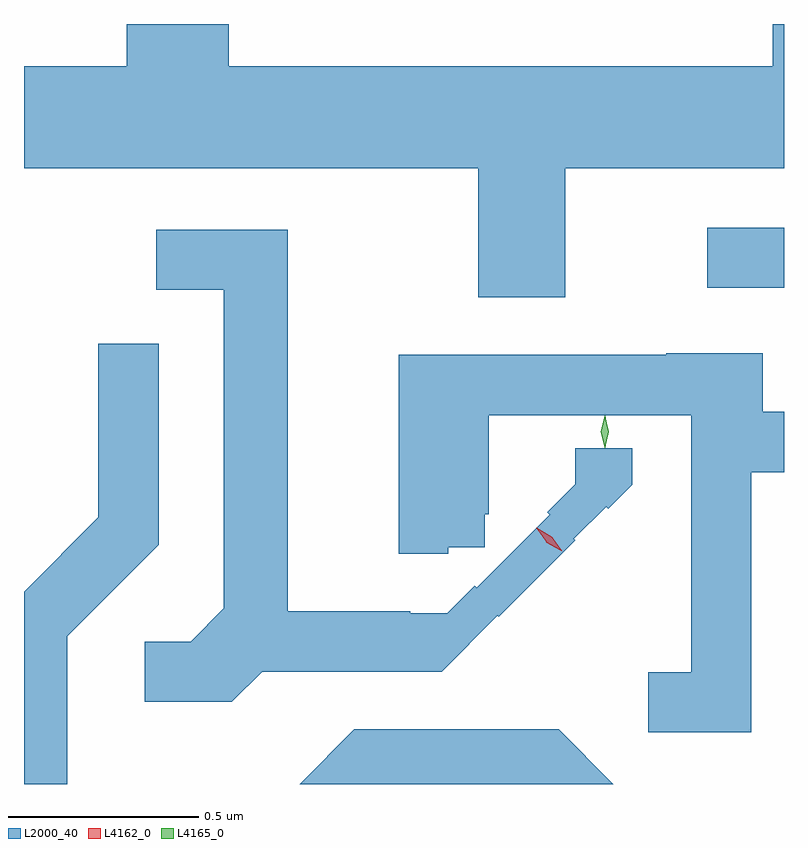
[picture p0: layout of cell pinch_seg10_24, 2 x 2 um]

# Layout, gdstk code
import gdstk
lib = gdstk.Library(unit=1e-6, precision=1e-09)
def R(c, l, rs):  # rectangles x0, y0, x1, y1
    for r in rs: c.add(gdstk.rectangle(r[:2], r[2:], *l))
def P(c, l, *ps):  # polygons
    for p in ps: c.add(gdstk.Polygon(p, *l))
L2000_40 = (2000, 40)
L4162_0 = (4162, 0)
L4165_0 = (4165, 0)

pinch_seg10_24 = lib.new_cell('pinch_seg10_24')
R(pinch_seg10_24, L2000_40, [(656.163,2106.941,656.365,2107.099)])
P(pinch_seg10_24, L2000_40, [(655.789,2107.256),(656.365,2107.256),(656.365,2107.635),(656.336,2107.635),(656.336,2107.524),(654.904,2107.524),(654.904,2107.635),(654.636,2107.635),(654.636,2107.524),(654.365,2107.524),(654.365,2107.256),(655.561,2107.256),(655.561,2106.916),(655.789,2106.916)],
  [(654.992,2105.931),(655.464,2105.931),(655.611,2106.078),(655.614,2106.075),(655.816,2106.276),(655.812,2106.28),(655.897,2106.365),(655.902,2106.36),(655.965,2106.423),(655.965,2106.518),(655.815,2106.518),(655.815,2106.424),(655.742,2106.35),(655.749,2106.343),(655.557,2106.152),(655.551,2106.157),(655.479,2106.085),(655.382,2106.085),(655.382,2106.089),(655.059,2106.089),(655.059,2107.094),(654.713,2107.094),(654.713,2106.936),(654.891,2106.936),(654.891,2106.097),(654.804,2106.009),(654.683,2106.009),(654.683,2105.851),(654.912,2105.851)],
  [(654.479,2106.024),(654.719,2106.264),(654.719,2106.793),(654.561,2106.793),(654.561,2106.337),(654.365,2106.141),(654.365,2105.635),(654.479,2105.635)],
  [(656.279,2106.456),(656.365,2106.456),(656.365,2106.614),(656.309,2106.614),(656.309,2106.769),(656.055,2106.769),(656.055,2106.764),(655.351,2106.764),(655.351,2106.241),(655.482,2106.241),(655.482,2106.258),(655.578,2106.258),(655.578,2106.345),(655.588,2106.345),(655.588,2106.606),(656.121,2106.606),(656.121,2105.929),(656.008,2105.929),(656.008,2105.771),(656.279,2105.771)],
  [(655.772,2105.779),(655.234,2105.779),(655.09,2105.635),(655.916,2105.635)])
P(pinch_seg10_24, L4162_0, [(655.776,2106.25),(655.741,2106.27),(655.72,2106.304),(655.72,2106.304),(655.72,2106.304),(655.755,2106.284),(655.776,2106.251),(655.776,2106.25)],
  [(655.781,2106.247),(655.74,2106.271),(655.713,2106.309),(655.713,2106.31),(655.714,2106.31),(655.754,2106.286),(655.782,2106.248),(655.782,2106.247)])
P(pinch_seg10_24, L4165_0, [(655.894,2106.522),(655.894,2106.523),(655.884,2106.562),(655.894,2106.602),(655.894,2106.602),(655.895,2106.602),(655.904,2106.562),(655.895,2106.523)],
  [(655.893,2106.519),(655.893,2106.52),(655.883,2106.562),(655.893,2106.604),(655.893,2106.604),(655.894,2106.604),(655.903,2106.562),(655.894,2106.52)])

lib.write_gds('pinch_seg10_24.gds')
